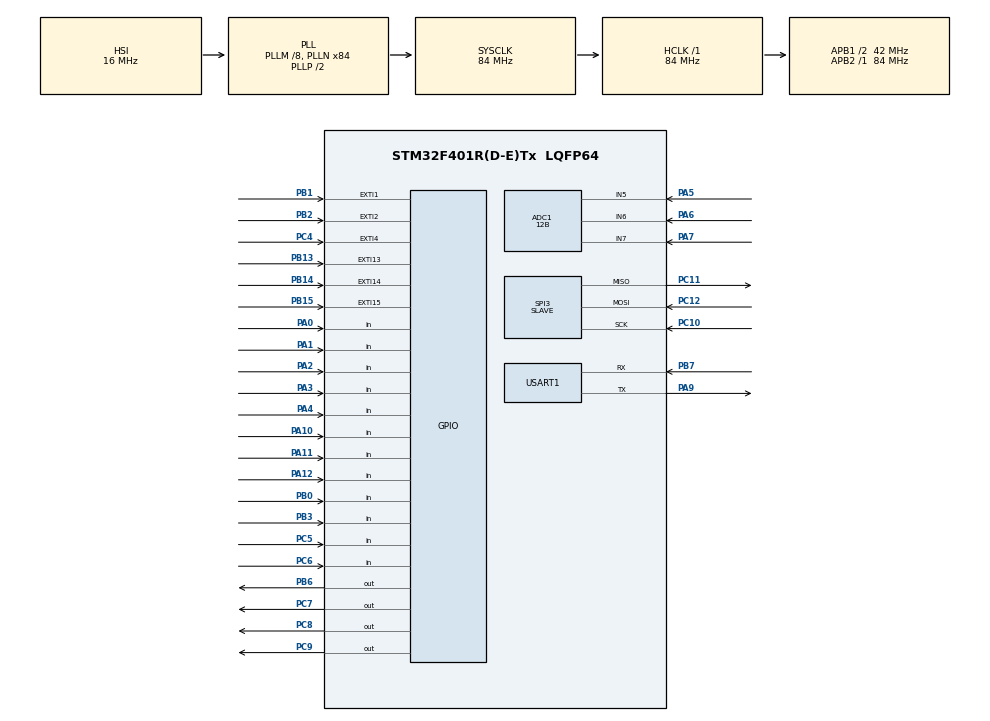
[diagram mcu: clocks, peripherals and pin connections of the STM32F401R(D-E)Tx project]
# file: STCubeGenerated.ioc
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ADC1.Channel-0\#ChannelRegularConversion=ADC_CHANNEL_5
ADC1.Channel-1\#ChannelRegularConversion=ADC_CHANNEL_6
ADC1.Channel-2\#ChannelRegularConversion=ADC_CHANNEL_7
ADC1.Channel-IN5=ADC_CHANNEL_5
ADC1.Channel-IN6=ADC_CHANNEL_6
ADC1.Channel-IN7=ADC_CHANNEL_7
ADC1.ClockPrescaler=ADC_CLOCK_SYNC_PCLK_DIV4
ADC1.ContinuousConvMode=ENABLE
ADC1.DMAContinuousRequests=ENABLE
ADC1.DataAlign=ADC_DATAALIGN_RIGHT
ADC1.DiscontinuousConvMode=DISABLE
ADC1.EOCSelection=ADC_EOC_SEQ_CONV
ADC1.EnableAnalogWatchDog=false
ADC1.ExternalTrigConv=ADC_SOFTWARE_START
ADC1.ExternalTrigConvEdge=ADC_EXTERNALTRIGCONVEDGE_NONE
ADC1.InjNumberOfConversion=0
ADC1.NbrOfConversion=3
ADC1.NbrOfConversionFlag=1
ADC1.Rank-0\#ChannelRegularConversion=1
ADC1.Rank-1\#ChannelRegularConversion=2
ADC1.Rank-2\#ChannelRegularConversion=3
ADC1.Resolution=ADC_RESOLUTION_12B
ADC1.SamplingTime-0\#ChannelRegularConversion=ADC_SAMPLETIME_3CYCLES
ADC1.SamplingTime-1\#ChannelRegularConversion=ADC_SAMPLETIME_3CYCLES
ADC1.SamplingTime-2\#ChannelRegularConversion=ADC_SAMPLETIME_3CYCLES
ADC1.ScanConvMode=ENABLE
ADC1.master=1
Dma.ADC1.0.Direction=DMA_PERIPH_TO_MEMORY
Dma.ADC1.0.FIFOMode=DMA_FIFOMODE_DISABLE
Dma.ADC1.0.Instance=DMA2_Stream0
Dma.ADC1.0.MemDataAlignment=DMA_MDATAALIGN_WORD
Dma.ADC1.0.MemInc=DMA_MINC_ENABLE
Dma.ADC1.0.Mode=DMA_CIRCULAR
Dma.ADC1.0.PeriphDataAlignment=DMA_PDATAALIGN_WORD
Dma.ADC1.0.PeriphInc=DMA_PINC_DISABLE
Dma.ADC1.0.Priority=DMA_PRIORITY_LOW
Dma.Request0=ADC1
Mcu.Family=STM32F4
Mcu.Name=STM32F401R(D-E)Tx
Mcu.Package=LQFP64
NVIC.DMA2_Stream0_IRQn=true\:0\:0\:true\:false\:true\:false
NVIC.EXTI15_10_IRQn=true\:1\:0\:true\:false\:true\:true
NVIC.EXTI1_IRQn=true\:1\:0\:true\:false\:true\:true
NVIC.EXTI2_IRQn=true\:1\:0\:true\:false\:true\:true
NVIC.EXTI4_IRQn=true\:1\:0\:true\:false\:true\:true
NVIC.PriorityGroup=NVIC_PRIORITYGROUP_4
NVIC.SPI3_IRQn=true\:1\:0\:true\:false\:true\:true
NVIC.USART1_IRQn=true\:1\:0\:true\:false\:true\:true
PA0-WKUP.Signal=GPIO_Input
PA1.Signal=GPIO_Input
PA10.Signal=GPIO_Input
PA11.Signal=GPIO_Input
PA12.Signal=GPIO_Input
PA13.GPIO_Label=TMS
PA13.Signal=SYS_JTMS-SWDIO
PA14.GPIO_Label=TCK
PA14.Signal=SYS_JTCK-SWCLK
PA2.Signal=GPIO_Input
PA3.Signal=GPIO_Input
PA4.Signal=GPIO_Input
PA5.Signal=ADCx_IN5
PA6.Signal=ADCx_IN6
PA7.Signal=ADCx_IN7
PA9.Mode=Asynchronous
PA9.Signal=USART1_TX
PB0.Signal=GPIO_Input
PB1.GPIO_ModeDefaultEXTI=GPIO_MODE_IT_RISING_FALLING
PB1.Signal=GPXTI1
PB13.GPIO_ModeDefaultEXTI=GPIO_MODE_IT_RISING_FALLING
PB13.Signal=GPXTI13
PB14.GPIO_ModeDefaultEXTI=GPIO_MODE_IT_RISING_FALLING
PB14.Signal=GPXTI14
PB15.GPIO_ModeDefaultEXTI=GPIO_MODE_IT_RISING_FALLING
PB15.Signal=GPXTI15
PB2.GPIO_ModeDefaultEXTI=GPIO_MODE_IT_RISING_FALLING
PB2.Signal=GPXTI2
PB3.Signal=GPIO_Input
PB6.Signal=GPIO_Output
PB7.Mode=Asynchronous
PB7.Signal=USART1_RX
PC10.Mode=Full_Duplex_Slave
PC10.Signal=SPI3_SCK
PC11.Mode=Full_Duplex_Slave
PC11.Signal=SPI3_MISO
PC12.Mode=Full_Duplex_Slave
PC12.Signal=SPI3_MOSI
PC14-OSC32_IN.Signal=RCC_OSC32_IN
PC15-OSC32_OUT.Signal=RCC_OSC32_OUT
PC4.GPIO_ModeDefaultEXTI=GPIO_MODE_IT_RISING_FALLING
PC4.Signal=GPXTI4
PC5.Signal=GPIO_Input
PC6.Signal=GPIO_Input
PC7.Signal=GPIO_Output
PC8.Signal=GPIO_Output
PC9.Signal=GPIO_Output
PH0\ -\ OSC_IN.Signal=RCC_OSC_IN
PH1\ -\ OSC_OUT.Signal=RCC_OSC_OUT
ProjectManager.HeapSize=0x200
ProjectManager.StackSize=0x400
ProjectManager.TargetToolchain=MDK-ARM V5
RCC.48MHZClocksFreq_Value=42000000
RCC.AHBFreq_Value=84000000
RCC.APB1CLKDivider=RCC_HCLK_DIV2
RCC.APB1Freq_Value=42000000
RCC.APB1TimFreq_Value=84000000
RCC.APB2Freq_Value=84000000
RCC.APB2TimFreq_Value=84000000
RCC.CortexFreq_Value=84000000
RCC.FLatency=FLASH_LATENCY_2
RCC.HCLKFreq_Value=84000000
RCC.HSE_VALUE=25000000
RCC.HSI_VALUE=16000000
RCC.LSE_VALUE=32768
RCC.PLLM=8
RCC.PLLN=84
RCC.SYSCLKFreq_VALUE=84000000
RCC.SYSCLKSource=RCC_SYSCLKSOURCE_PLLCLK
RCC.VCOOutputFreq_Value=168000000
SH.ADCx_IN5.0=ADC1_IN5,IN5
SH.ADCx_IN6.0=ADC1_IN6,IN6
SH.ADCx_IN7.0=ADC1_IN7,IN7
SPI3.Direction=SPI_DIRECTION_2LINES
SPI3.Mode=SPI_MODE_SLAVE
SPI3.VirtualType=VM_SLAVE
USART1.VirtualMode=VM_ASYNC
board=STCubeGenerated

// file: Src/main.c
/**
  ******************************************************************************
  * File Name          : main.c
  * Description        : Main program body
	* User Code by			 : Sulaymaan Shaikh, Luke Jackson, Edward Lobley, Ian Taylor,
	*											 Tom Harrison
	* Version						 : 0.2
	*
	* Changelog:
	*						0.2:
	*							- Changed UART Peripheral to SPI Peripheral after clarification talks
	*
	*						0.1:
	*							- Added Initial Code Structure, Thread + Peripheral Initialisation
	*						  - Added some written code
  ******************************************************************************
  ** This notice applies to any and all portions of this file
  * that are not between comment pairs USER CODE BEGIN and
  * USER CODE END. Other portions of this file, whether
  * inserted by the user or by software development tools
  * are owned by their respective copyright owners.
  *
  * COPYRIGHT(c) 2018 STMicroelectronics
  *
  * Redistribution and use in source and binary forms, with or without modification,
  * are permitted provided that the following conditions are met:
  *   1. Redistributions of source code must retain the above copyright notice,
  *      this list of conditions and the following disclaimer.
  *   2. Redistributions in binary form must reproduce the above copyright notice,
  *      this list of conditions and the following disclaimer in the documentation
  *      and/or other materials provided with the distribution.
  *   3. Neither the name of STMicroelectronics nor the names of its contributors
  *      may be used to endorse or promote products derived from this software
  *      without specific prior written permission.
  *
  * THIS SOFTWARE IS PROVIDED BY THE COPYRIGHT HOLDERS AND CONTRIBUTORS "AS IS"
  * AND ANY EXPRESS OR IMPLIED WARRANTIES, INCLUDING, BUT NOT LIMITED TO, THE
  * IMPLIED WARRANTIES OF MERCHANTABILITY AND FITNESS FOR A PARTICULAR PURPOSE ARE
  * DISCLAIMED. IN NO EVENT SHALL THE COPYRIGHT HOLDER OR CONTRIBUTORS BE LIABLE
  * FOR ANY DIRECT, INDIRECT, INCIDENTAL, SPECIAL, EXEMPLARY, OR CONSEQUENTIAL
  * DAMAGES (INCLUDING, BUT NOT LIMITED TO, PROCUREMENT OF SUBSTITUTE GOODS OR
  * SERVICES; LOSS OF USE, DATA, OR PROFITS; OR BUSINESS INTERRUPTION) HOWEVER
  * CAUSED AND ON ANY THEORY OF LIABILITY, WHETHER IN CONTRACT, STRICT LIABILITY,
  * OR TORT (INCLUDING NEGLIGENCE OR OTHERWISE) ARISING IN ANY WAY OUT OF THE USE
  * OF THIS SOFTWARE, EVEN IF ADVISED OF THE POSSIBILITY OF SUCH DAMAGE.
  *
  ******************************************************************************
  */
#include "main.h"
#include "stm32f4xx_hal.h"

/* USER CODE BEGIN Includes */
#define osObjectsPublic                     // define objects in main module
#include "osObjects.h"                      // RTOS object definitions
/* USER CODE END Includes */

ADC_HandleTypeDef hadc1;
DMA_HandleTypeDef hdma_adc1;
SPI_HandleTypeDef hspi3;
UART_HandleTypeDef huart1;

/* USER CODE BEGIN PV */
/* Private variables ---------------------------------------------------------*/
uint8_t rxBuf[1];
uint32_t ADC_Buffer[3];								// Circular Buffer to store ADC readings
int pigStatus = 0;										// STATUS DETERMINES IF SYSTEM NEEDS TO RUN (1) OR SHUTDOWN (0)
int pigShutdown = 0;									// SHUTDOWN DETERMINES IF ARMS NEED TO RETRACT, (1) TO RETRACT, (0)
/* USER CODE END PV */

void SystemClock_Config(void);
static void MX_GPIO_Init(void);
static void MX_DMA_Init(void);
static void MX_ADC1_Init(void);
static void MX_USART1_UART_Init(void);
static void MX_SPI3_Init(void);

/* USER CODE BEGIN PFP */
/* Private function prototypes -----------------------------------------------*/
extern int initSteppers(void);
extern int initEncoders(void);
/* USER CODE END PFP */

/* USER CODE BEGIN 0 */
extern uint32_t os_time;
uint32_t HAL_GetTick(void) {           // Add HAL_GetTick function for STM32Cube HAL
  return os_time;
}
/* USER CODE END 0 */

int main(void)
{

  /* USER CODE BEGIN 1 */
	osKernelInitialize ();               // Initialize RTOS Kernel for setup
  /* USER CODE END 1 */

  /* MCU Configuration----------------------------------------------------------*/

  /* Reset of all peripherals, Initializes the Flash interface and the Systick. */
  HAL_Init();

  /* Configure the system clock */
  SystemClock_Config();

  /* Initialize all configured peripherals */
  MX_GPIO_Init();
  MX_DMA_Init();
  MX_ADC1_Init();
  MX_USART1_UART_Init();
  MX_SPI3_Init();

  /* USER CODE BEGIN 2 */
	/** Tasks:
		* 			- Stepper Motor
		*				- Reading Encoders
		*				- UART Comms are interrupt driven (background)
		*				- ADC is DMA driven (background)
		*				- Limit Switches are interrupt driven (background)
		**/

	//Init Threads
	initSteppers();												//Init Stepper Thread
	initEncoders();												//Init Encoder Thread

	//Activate Background Peripherals
	if (HAL_ADC_Start_DMA(&hadc1, (uint32_t*)ADC_Buffer, 6) != HAL_OK) //ADC Readings begin
	{
		return 0;
	}
	HAL_UART_Receive_IT(&huart1, rxBuf, 1);														 //UART Interrupt ready for commands

	//Begin Thread Switching
	osKernelStart ();
  /* USER CODE END 2 */

  /* Infinite loop */
  while (1)
  {

  }

}

/** System Clock Configuration
*/
void SystemClock_Config(void)
{

  RCC_OscInitTypeDef RCC_OscInitStruct;
  RCC_ClkInitTypeDef RCC_ClkInitStruct;

    /**Configure the main internal regulator output voltage
    */
  __HAL_RCC_PWR_CLK_ENABLE();

  __HAL_PWR_VOLTAGESCALING_CONFIG(PWR_REGULATOR_VOLTAGE_SCALE2);

    /**Initializes the CPU, AHB and APB busses clocks
    */
  RCC_OscInitStruct.OscillatorType = RCC_OSCILLATORTYPE_HSI;
  RCC_OscInitStruct.HSIState = RCC_HSI_ON;
  RCC_OscInitStruct.HSICalibrationValue = 16;
  RCC_OscInitStruct.PLL.PLLState = RCC_PLL_ON;
  RCC_OscInitStruct.PLL.PLLSource = RCC_PLLSOURCE_HSI;
  RCC_OscInitStruct.PLL.PLLM = 8;
  RCC_OscInitStruct.PLL.PLLN = 84;
  RCC_OscInitStruct.PLL.PLLP = RCC_PLLP_DIV2;
  RCC_OscInitStruct.PLL.PLLQ = 4;
  if (HAL_RCC_OscConfig(&RCC_OscInitStruct) != HAL_OK)
  {
    _Error_Handler(__FILE__, __LINE__);
  }

    /**Initializes the CPU, AHB and APB busses clocks
    */
  RCC_ClkInitStruct.ClockType = RCC_CLOCKTYPE_HCLK|RCC_CLOCKTYPE_SYSCLK
                              |RCC_CLOCKTYPE_PCLK1|RCC_CLOCKTYPE_PCLK2;
  RCC_ClkInitStruct.SYSCLKSource = RCC_SYSCLKSOURCE_PLLCLK;
  RCC_ClkInitStruct.AHBCLKDivider = RCC_SYSCLK_DIV1;
  RCC_ClkInitStruct.APB1CLKDivider = RCC_HCLK_DIV2;
  RCC_ClkInitStruct.APB2CLKDivider = RCC_HCLK_DIV1;

  if (HAL_RCC_ClockConfig(&RCC_ClkInitStruct, FLASH_LATENCY_2) != HAL_OK)
  {
    _Error_Handler(__FILE__, __LINE__);
  }

    /**Configure the Systick interrupt time
    */
  HAL_SYSTICK_Config(HAL_RCC_GetHCLKFreq()/1000);

    /**Configure the Systick
    */
  HAL_SYSTICK_CLKSourceConfig(SYSTICK_CLKSOURCE_HCLK);

  /* SysTick_IRQn interrupt configuration */
  HAL_NVIC_SetPriority(SysTick_IRQn, 15, 0);
}

/* ADC1 init function */
static void MX_ADC1_Init(void)
{

  ADC_ChannelConfTypeDef sConfig;

    /**Configure the global features of the ADC (Clock, Resolution, Data Alignment and number of conversion)
    */
  hadc1.Instance = ADC1;
  hadc1.Init.ClockPrescaler = ADC_CLOCK_SYNC_PCLK_DIV4;
  hadc1.Init.Resolution = ADC_RESOLUTION_12B;
  hadc1.Init.ScanConvMode = ENABLE;
  hadc1.Init.ContinuousConvMode = ENABLE;
  hadc1.Init.DiscontinuousConvMode = DISABLE;
  hadc1.Init.ExternalTrigConvEdge = ADC_EXTERNALTRIGCONVEDGE_NONE;
  hadc1.Init.ExternalTrigConv = ADC_SOFTWARE_START;
  hadc1.Init.DataAlign = ADC_DATAALIGN_RIGHT;
  hadc1.Init.NbrOfConversion = 3;
  hadc1.Init.DMAContinuousRequests = ENABLE;
  hadc1.Init.EOCSelection = ADC_EOC_SEQ_CONV;
  if (HAL_ADC_Init(&hadc1) != HAL_OK)
  {
    _Error_Handler(__FILE__, __LINE__);
  }

    /**Configure for the selected ADC regular channel its corresponding rank in the sequencer and its sample time.
    */
  sConfig.Channel = ADC_CHANNEL_5;
  sConfig.Rank = 1;
  sConfig.SamplingTime = ADC_SAMPLETIME_3CYCLES;
  if (HAL_ADC_ConfigChannel(&hadc1, &sConfig) != HAL_OK)
  {
    _Error_Handler(__FILE__, __LINE__);
  }

    /**Configure for the selected ADC regular channel its corresponding rank in the sequencer and its sample time.
    */
  sConfig.Channel = ADC_CHANNEL_6;
  sConfig.Rank = 2;
  if (HAL_ADC_ConfigChannel(&hadc1, &sConfig) != HAL_OK)
  {
    _Error_Handler(__FILE__, __LINE__);
  }

    /**Configure for the selected ADC regular channel its corresponding rank in the sequencer and its sample time.
    */
  sConfig.Channel = ADC_CHANNEL_7;
  sConfig.Rank = 3;
  if (HAL_ADC_ConfigChannel(&hadc1, &sConfig) != HAL_OK)
  {
    _Error_Handler(__FILE__, __LINE__);
  }

}

/* SPI3 init function */
static void MX_SPI3_Init(void)
{

  /* SPI3 parameter configuration*/
  hspi3.Instance = SPI3;
  hspi3.Init.Mode = SPI_MODE_SLAVE;
  hspi3.Init.Direction = SPI_DIRECTION_2LINES;
  hspi3.Init.DataSize = SPI_DATASIZE_8BIT;
  hspi3.Init.CLKPolarity = SPI_POLARITY_LOW;
  hspi3.Init.CLKPhase = SPI_PHASE_1EDGE;
  hspi3.Init.NSS = SPI_NSS_SOFT;
  hspi3.Init.FirstBit = SPI_FIRSTBIT_MSB;
  hspi3.Init.TIMode = SPI_TIMODE_DISABLE;
  hspi3.Init.CRCCalculation = SPI_CRCCALCULATION_DISABLE;
  hspi3.Init.CRCPolynomial = 10;
  if (HAL_SPI_Init(&hspi3) != HAL_OK)
  {
    _Error_Handler(__FILE__, __LINE__);
  }

}

/* USART1 init function */
static void MX_USART1_UART_Init(void)
{

  huart1.Instance = USART1;
  huart1.Init.BaudRate = 115200;
  huart1.Init.WordLength = UART_WORDLENGTH_8B;
  huart1.Init.StopBits = UART_STOPBITS_1;
  huart1.Init.Parity = UART_PARITY_NONE;
  huart1.Init.Mode = UART_MODE_TX_RX;
  huart1.Init.HwFlowCtl = UART_HWCONTROL_NONE;
  huart1.Init.OverSampling = UART_OVERSAMPLING_16;
  if (HAL_UART_Init(&huart1) != HAL_OK)
  {
    _Error_Handler(__FILE__, __LINE__);
  }

}

static void MX_DMA_Init(void)
{
  /* DMA controller clock enable */
  __HAL_RCC_DMA2_CLK_ENABLE();

  /* DMA interrupt init */
  /* DMA2_Stream0_IRQn interrupt configuration */
  HAL_NVIC_SetPriority(DMA2_Stream0_IRQn, 0, 0);
  HAL_NVIC_EnableIRQ(DMA2_Stream0_IRQn);

}

/** Configure pins as
        * Analog
        * Input
        * Output
        * EVENT_OUT
        * EXTI
*/
static void MX_GPIO_Init(void)
{

  GPIO_InitTypeDef GPIO_InitStruct;

  /* GPIO Ports Clock Enable */
  __HAL_RCC_GPIOC_CLK_ENABLE();
  __HAL_RCC_GPIOH_CLK_ENABLE();
  __HAL_RCC_GPIOA_CLK_ENABLE();
  __HAL_RCC_GPIOB_CLK_ENABLE();

  /*Configure GPIO pin Output Level */
  HAL_GPIO_WritePin(GPIOC, GPIO_PIN_7|GPIO_PIN_8|GPIO_PIN_9, GPIO_PIN_RESET);

  /*Configure GPIO pin Output Level */
  HAL_GPIO_WritePin(GPIOB, GPIO_PIN_6, GPIO_PIN_RESET);

  /*Configure GPIO pins : PA0 PA1 PA2 PA3
                           PA4 PA10 PA11 PA12 */
  GPIO_InitStruct.Pin = GPIO_PIN_0|GPIO_PIN_1|GPIO_PIN_2|GPIO_PIN_3
                          |GPIO_PIN_4|GPIO_PIN_10|GPIO_PIN_11|GPIO_PIN_12;
  GPIO_InitStruct.Mode = GPIO_MODE_INPUT;
  GPIO_InitStruct.Pull = GPIO_NOPULL;
  HAL_GPIO_Init(GPIOA, &GPIO_InitStruct);

  /*Configure GPIO pin : PC4 */
  GPIO_InitStruct.Pin = GPIO_PIN_4;
  GPIO_InitStruct.Mode = GPIO_MODE_IT_RISING_FALLING;
  GPIO_InitStruct.Pull = GPIO_NOPULL;
  HAL_GPIO_Init(GPIOC, &GPIO_InitStruct);

  /*Configure GPIO pins : PC5 PC6 */
  GPIO_InitStruct.Pin = GPIO_PIN_5|GPIO_PIN_6;
  GPIO_InitStruct.Mode = GPIO_MODE_INPUT;
  GPIO_InitStruct.Pull = GPIO_NOPULL;
  HAL_GPIO_Init(GPIOC, &GPIO_InitStruct);

  /*Configure GPIO pins : PB0 PB3 */
  GPIO_InitStruct.Pin = GPIO_PIN_0|GPIO_PIN_3;
  GPIO_InitStruct.Mode = GPIO_MODE_INPUT;
  GPIO_InitStruct.Pull = GPIO_NOPULL;
  HAL_GPIO_Init(GPIOB, &GPIO_InitStruct);

  /*Configure GPIO pins : PB1 PB2 PB13 PB14
                           PB15 */
  GPIO_InitStruct.Pin = GPIO_PIN_1|GPIO_PIN_2|GPIO_PIN_13|GPIO_PIN_14
                          |GPIO_PIN_15;
  GPIO_InitStruct.Mode = GPIO_MODE_IT_RISING_FALLING;
  GPIO_InitStruct.Pull = GPIO_NOPULL;
  HAL_GPIO_Init(GPIOB, &GPIO_InitStruct);

  /*Configure GPIO pins : PC7 PC8 PC9 */
  GPIO_InitStruct.Pin = GPIO_PIN_7|GPIO_PIN_8|GPIO_PIN_9;
  GPIO_InitStruct.Mode = GPIO_MODE_OUTPUT_PP;
  GPIO_InitStruct.Pull = GPIO_NOPULL;
  GPIO_InitStruct.Speed = GPIO_SPEED_FREQ_LOW;
  HAL_GPIO_Init(GPIOC, &GPIO_InitStruct);

  /*Configure GPIO pin : PB6 */
  GPIO_InitStruct.Pin = GPIO_PIN_6;
  GPIO_InitStruct.Mode = GPIO_MODE_OUTPUT_PP;
  GPIO_InitStruct.Pull = GPIO_NOPULL;
  GPIO_InitStruct.Speed = GPIO_SPEED_FREQ_LOW;
  HAL_GPIO_Init(GPIOB, &GPIO_InitStruct);

  /* EXTI interrupt init*/
  HAL_NVIC_SetPriority(EXTI1_IRQn, 1, 0);
  HAL_NVIC_EnableIRQ(EXTI1_IRQn);

  HAL_NVIC_SetPriority(EXTI2_IRQn, 1, 0);
  HAL_NVIC_EnableIRQ(EXTI2_IRQn);

  HAL_NVIC_SetPriority(EXTI4_IRQn, 1, 0);
  HAL_NVIC_EnableIRQ(EXTI4_IRQn);

  HAL_NVIC_SetPriority(EXTI15_10_IRQn, 1, 0);
  HAL_NVIC_EnableIRQ(EXTI15_10_IRQn);

}

void _Error_Handler(char * file, int line)
{
  while(1)
  {
  }
}

/************************ (C) COPYRIGHT STMicroelectronics *****END OF FILE****/
